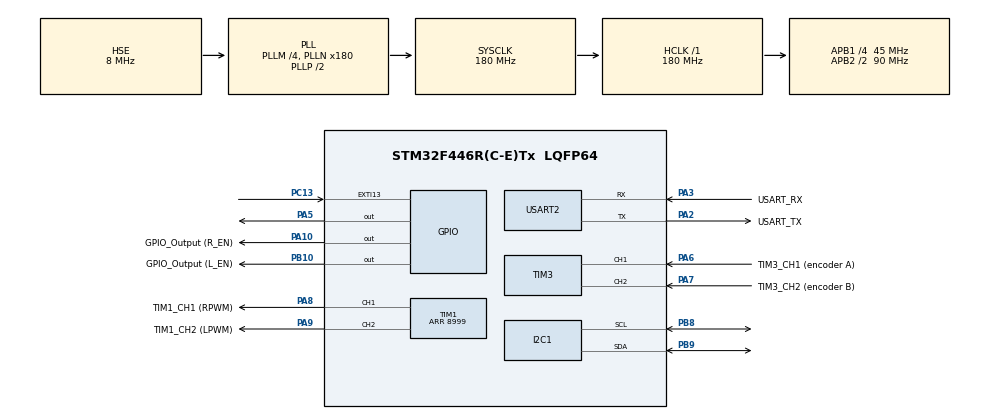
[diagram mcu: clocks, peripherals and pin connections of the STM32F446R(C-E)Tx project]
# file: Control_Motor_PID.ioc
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I2C1.I2C_Mode=I2C_Fast
Mcu.Family=STM32F4
Mcu.Name=STM32F446R(C-E)Tx
Mcu.Package=LQFP64
NUCLEO-F446RE.BUTTON=1
NUCLEO-F446RE.LD1=true
NVIC.EXTI15_10_IRQn=true\:0\:0\:false\:false\:true\:false\:true\:true
NVIC.PriorityGroup=NVIC_PRIORITYGROUP_0
NVIC.TIM2_IRQn=true\:0\:0\:false\:false\:true\:true\:true\:true
PA10.GPIO_Label=GPIO_Output (R_EN)
PA10.Signal=GPIO_Output
PA13.GPIO_Label=TMS
PA13.Mode=Serial_Wire
PA13.Signal=SYS_JTMS-SWDIO
PA14.GPIO_Label=TCK
PA14.Mode=Serial_Wire
PA14.Signal=SYS_JTCK-SWCLK
PA2.GPIO_Label=USART_TX
PA2.Mode=Asynchronous
PA2.Signal=USART2_TX
PA3.GPIO_Label=USART_RX
PA3.Mode=Asynchronous
PA3.Signal=USART2_RX
PA5.Signal=GPIO_Output
PA6.GPIO_Label=TIM3_CH1 (encoder A)
PA6.Signal=S_TIM3_CH1
PA7.GPIO_Label=TIM3_CH2 (encoder B)
PA7.Signal=S_TIM3_CH2
PA8.GPIO_Label=TIM1_CH1 (RPWM)
PA8.Signal=S_TIM1_CH1
PA9.GPIO_Label=TIM1_CH2 (LPWM)
PA9.Signal=S_TIM1_CH2
PB10.GPIO_Label=GPIO_Output (L_EN)
PB10.Signal=GPIO_Output
PB3.GPIO_Label=SWO
PB3.Signal=SYS_JTDO-SWO
PB8.Mode=I2C
PB8.Signal=I2C1_SCL
PB9.Mode=I2C
PB9.Signal=I2C1_SDA
PC13.Signal=GPXTI13
PC14-OSC32_IN.Signal=RCC_OSC32_IN
PC15-OSC32_OUT.Signal=RCC_OSC32_OUT
PH0-OSC_IN.Mode=HSE-External-Clock-Source
PH0-OSC_IN.Signal=RCC_OSC_IN
PH1-OSC_OUT.Mode=HSE-External-Clock-Source
PH1-OSC_OUT.Signal=RCC_OSC_OUT
ProjectManager.HeapSize=0x200
ProjectManager.StackSize=0x400
ProjectManager.TargetToolchain=CMake
RCC.AHBFreq_Value=180000000
RCC.APB1CLKDivider=RCC_HCLK_DIV4
RCC.APB1Freq_Value=45000000
RCC.APB1TimFreq_Value=90000000
RCC.APB2CLKDivider=RCC_HCLK_DIV2
RCC.APB2Freq_Value=90000000
RCC.APB2TimFreq_Value=180000000
RCC.CortexFreq_Value=180000000
RCC.FLatency-AdvancedSettings=FLASH_LATENCY_5
RCC.HCLKFreq_Value=180000000
RCC.HSE_VALUE=8000000
RCC.HSI_VALUE=16000000
RCC.LSE_VALUE=32768
RCC.PLLM=4
RCC.PLLN=180
RCC.PLLSourceVirtual=RCC_PLLSOURCE_HSE
RCC.SYSCLKFreq_VALUE=180000000
RCC.SYSCLKSource=RCC_SYSCLKSOURCE_PLLCLK
RCC.USBFreq_Value=180000000
RCC.VCOOutputFreq_Value=360000000
SH.S_TIM1_CH1.0=TIM1_CH1,PWM Generation1 CH1
SH.S_TIM1_CH2.0=TIM1_CH2,PWM Generation2 CH2
SH.S_TIM3_CH1.0=TIM3_CH1,Encoder_Interface
SH.S_TIM3_CH2.0=TIM3_CH2,Encoder_Interface
TIM1.AutoReloadPreload=TIM_AUTORELOAD_PRELOAD_ENABLE
TIM1.Channel-PWM\ Generation1\ CH1=TIM_CHANNEL_1
TIM1.Channel-PWM\ Generation2\ CH2=TIM_CHANNEL_2
TIM1.Period=8999
TIM2.AutoReloadPreload=TIM_AUTORELOAD_PRELOAD_ENABLE
TIM2.Period=899999
TIM3.EncoderMode=TIM_ENCODERMODE_TI12
USART2.VirtualMode=VM_ASYNC
VP_NUCLEO-F446RE_VS_BSP_COMMON.Mode=COMMON
VP_TIM1_VS_ClockSourceINT.Mode=Internal
VP_TIM2_VS_ClockSourceINT.Mode=Internal
board=NUCLEO-F446RE

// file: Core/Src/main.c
/* USER CODE BEGIN Header */
/**
  ******************************************************************************
  * @file           : main.c
  * @brief          : Main program body
  ******************************************************************************
  * @attention
  *
  * Copyright (c) 2026 STMicroelectronics.
  * All rights reserved.
  *
  * This software is licensed under terms that can be found in the LICENSE file
  * in the root directory of this software component.
  * If no LICENSE file comes with this software, it is provided AS-IS.
  *
  ******************************************************************************
  */
/* USER CODE END Header */
#include "main.h"

/* USER CODE BEGIN Includes */
#include "control_velocidad.h"
#include "pantalla_oled.h"
#include "telemetria_serial.h"
#include "experimento_pwm.h"
/* USER CODE END Includes */

I2C_HandleTypeDef hi2c1;

TIM_HandleTypeDef htim1;
TIM_HandleTypeDef htim2;
TIM_HandleTypeDef htim3;

UART_HandleTypeDef huart2;

void SystemClock_Config(void);
static void MX_GPIO_Init(void);
static void MX_TIM1_Init(void);
static void MX_TIM3_Init(void);
static void MX_TIM2_Init(void);
static void MX_I2C1_Init(void);
static void MX_USART2_UART_Init(void);

int main(void)
{

  /* MCU Configuration--------------------------------------------------------*/

  /* Reset of all peripherals, Initializes the Flash interface and the Systick. */
  HAL_Init();

  /* Configure the system clock */
  SystemClock_Config();

  /* Initialize all configured peripherals */
  MX_GPIO_Init();
  MX_TIM1_Init();
  MX_TIM3_Init();
  MX_TIM2_Init();
  MX_I2C1_Init();
  MX_USART2_UART_Init();
  /* USER CODE BEGIN 2 */
  HAL_TIM_Encoder_Start(&htim3, TIM_CHANNEL_ALL); // Inicia el encoder

  HAL_TIM_PWM_Start(&htim1, TIM_CHANNEL_1); // Inicia el PWM en el canal 1
  HAL_TIM_PWM_Start(&htim1, TIM_CHANNEL_2); // Inicia el PWM en el canal 2

  HAL_TIM_Base_Start_IT(&htim2); //Inicia el timer 2 y habilita la interrupción para el timer 2

  /* Orden que pide control_velocidad.h: timers arrancados, luego la pantalla, luego el control. */
  pantalla_oled_inicializar(&hi2c1);   /* hi2c1: lo genera CubeMX al activar I2C1 */
  control_velocidad_iniciar();         /* deja el motor parado en IDLE */
  control_velocidad_fijar_referencia(220.0f); /* prueba lazo abierto: 100 RPM */
  experimento_pwm_iniciar();           /* experimentos de identificacion: referencia en 0, espera el boton */
  /* USER CODE END 2 */

  /* Initialize leds */
  BSP_LED_Init(LED2);

  /* Initialize USER push-button, will be used to trigger an interrupt each time it's pressed.*/
  BSP_PB_Init(BUTTON_USER, BUTTON_MODE_EXTI);

  /* Infinite loop */
  while (1)
  {

    /* USER CODE BEGIN 3 */
    control_velocidad_ejecutar();  /* medir -> calcular -> actuar (cada 10 ms) */
    experimento_pwm_actualizar();    /* escalon / PRBS9: manda los datos por serial al terminar cada prueba */
    if (!experimento_pwm_activo()) {
      telemetria_serial_actualizar();  /* RPM por puerto serie cada 100 ms */
    }
  }
  /* USER CODE END 3 */
}

void SystemClock_Config(void)
{
  RCC_OscInitTypeDef RCC_OscInitStruct = {0};
  RCC_ClkInitTypeDef RCC_ClkInitStruct = {0};

  /** Configure the main internal regulator output voltage
  */
  __HAL_RCC_PWR_CLK_ENABLE();
  __HAL_PWR_VOLTAGESCALING_CONFIG(PWR_REGULATOR_VOLTAGE_SCALE1);

  /** Initializes the RCC Oscillators according to the specified parameters
  * in the RCC_OscInitTypeDef structure.
  */
  RCC_OscInitStruct.OscillatorType = RCC_OSCILLATORTYPE_HSE;
  RCC_OscInitStruct.HSEState = RCC_HSE_BYPASS;
  RCC_OscInitStruct.PLL.PLLState = RCC_PLL_ON;
  RCC_OscInitStruct.PLL.PLLSource = RCC_PLLSOURCE_HSE;
  RCC_OscInitStruct.PLL.PLLM = 4;
  RCC_OscInitStruct.PLL.PLLN = 180;
  RCC_OscInitStruct.PLL.PLLP = RCC_PLLP_DIV2;
  RCC_OscInitStruct.PLL.PLLQ = 2;
  RCC_OscInitStruct.PLL.PLLR = 2;
  if (HAL_RCC_OscConfig(&RCC_OscInitStruct) != HAL_OK)
  {
    Error_Handler();
  }

  /** Activate the Over-Drive mode
  */
  if (HAL_PWREx_EnableOverDrive() != HAL_OK)
  {
    Error_Handler();
  }

  /** Initializes the CPU, AHB and APB buses clocks
  */
  RCC_ClkInitStruct.ClockType = RCC_CLOCKTYPE_HCLK|RCC_CLOCKTYPE_SYSCLK
                              |RCC_CLOCKTYPE_PCLK1|RCC_CLOCKTYPE_PCLK2;
  RCC_ClkInitStruct.SYSCLKSource = RCC_SYSCLKSOURCE_PLLCLK;
  RCC_ClkInitStruct.AHBCLKDivider = RCC_SYSCLK_DIV1;
  RCC_ClkInitStruct.APB1CLKDivider = RCC_HCLK_DIV4;
  RCC_ClkInitStruct.APB2CLKDivider = RCC_HCLK_DIV2;

  if (HAL_RCC_ClockConfig(&RCC_ClkInitStruct, FLASH_LATENCY_5) != HAL_OK)
  {
    Error_Handler();
  }
}

static void MX_I2C1_Init(void)
{

  hi2c1.Instance = I2C1;
  hi2c1.Init.ClockSpeed = 400000;
  hi2c1.Init.DutyCycle = I2C_DUTYCYCLE_2;
  hi2c1.Init.OwnAddress1 = 0;
  hi2c1.Init.AddressingMode = I2C_ADDRESSINGMODE_7BIT;
  hi2c1.Init.DualAddressMode = I2C_DUALADDRESS_DISABLE;
  hi2c1.Init.OwnAddress2 = 0;
  hi2c1.Init.GeneralCallMode = I2C_GENERALCALL_DISABLE;
  hi2c1.Init.NoStretchMode = I2C_NOSTRETCH_DISABLE;
  if (HAL_I2C_Init(&hi2c1) != HAL_OK)
  {
    Error_Handler();
  }

}

static void MX_TIM1_Init(void)
{

  TIM_ClockConfigTypeDef sClockSourceConfig = {0};
  TIM_MasterConfigTypeDef sMasterConfig = {0};
  TIM_OC_InitTypeDef sConfigOC = {0};
  TIM_BreakDeadTimeConfigTypeDef sBreakDeadTimeConfig = {0};

  htim1.Instance = TIM1;
  htim1.Init.Prescaler = 0;
  htim1.Init.CounterMode = TIM_COUNTERMODE_UP;
  htim1.Init.Period = 8999;
  htim1.Init.ClockDivision = TIM_CLOCKDIVISION_DIV1;
  htim1.Init.RepetitionCounter = 0;
  htim1.Init.AutoReloadPreload = TIM_AUTORELOAD_PRELOAD_ENABLE;
  if (HAL_TIM_Base_Init(&htim1) != HAL_OK)
  {
    Error_Handler();
  }
  sClockSourceConfig.ClockSource = TIM_CLOCKSOURCE_INTERNAL;
  if (HAL_TIM_ConfigClockSource(&htim1, &sClockSourceConfig) != HAL_OK)
  {
    Error_Handler();
  }
  if (HAL_TIM_PWM_Init(&htim1) != HAL_OK)
  {
    Error_Handler();
  }
  sMasterConfig.MasterOutputTrigger = TIM_TRGO_RESET;
  sMasterConfig.MasterSlaveMode = TIM_MASTERSLAVEMODE_DISABLE;
  if (HAL_TIMEx_MasterConfigSynchronization(&htim1, &sMasterConfig) != HAL_OK)
  {
    Error_Handler();
  }
  sConfigOC.OCMode = TIM_OCMODE_PWM1;
  sConfigOC.Pulse = 0;
  sConfigOC.OCPolarity = TIM_OCPOLARITY_HIGH;
  sConfigOC.OCNPolarity = TIM_OCNPOLARITY_HIGH;
  sConfigOC.OCFastMode = TIM_OCFAST_DISABLE;
  sConfigOC.OCIdleState = TIM_OCIDLESTATE_RESET;
  sConfigOC.OCNIdleState = TIM_OCNIDLESTATE_RESET;
  if (HAL_TIM_PWM_ConfigChannel(&htim1, &sConfigOC, TIM_CHANNEL_1) != HAL_OK)
  {
    Error_Handler();
  }
  if (HAL_TIM_PWM_ConfigChannel(&htim1, &sConfigOC, TIM_CHANNEL_2) != HAL_OK)
  {
    Error_Handler();
  }
  sBreakDeadTimeConfig.OffStateRunMode = TIM_OSSR_DISABLE;
  sBreakDeadTimeConfig.OffStateIDLEMode = TIM_OSSI_DISABLE;
  sBreakDeadTimeConfig.LockLevel = TIM_LOCKLEVEL_OFF;
  sBreakDeadTimeConfig.DeadTime = 0;
  sBreakDeadTimeConfig.BreakState = TIM_BREAK_DISABLE;
  sBreakDeadTimeConfig.BreakPolarity = TIM_BREAKPOLARITY_HIGH;
  sBreakDeadTimeConfig.AutomaticOutput = TIM_AUTOMATICOUTPUT_DISABLE;
  if (HAL_TIMEx_ConfigBreakDeadTime(&htim1, &sBreakDeadTimeConfig) != HAL_OK)
  {
    Error_Handler();
  }
  HAL_TIM_MspPostInit(&htim1);

}

static void MX_TIM2_Init(void)
{

  TIM_ClockConfigTypeDef sClockSourceConfig = {0};
  TIM_MasterConfigTypeDef sMasterConfig = {0};

  htim2.Instance = TIM2;
  htim2.Init.Prescaler = 0;
  htim2.Init.CounterMode = TIM_COUNTERMODE_UP;
  htim2.Init.Period = 899999;
  htim2.Init.ClockDivision = TIM_CLOCKDIVISION_DIV1;
  htim2.Init.AutoReloadPreload = TIM_AUTORELOAD_PRELOAD_ENABLE;
  if (HAL_TIM_Base_Init(&htim2) != HAL_OK)
  {
    Error_Handler();
  }
  sClockSourceConfig.ClockSource = TIM_CLOCKSOURCE_INTERNAL;
  if (HAL_TIM_ConfigClockSource(&htim2, &sClockSourceConfig) != HAL_OK)
  {
    Error_Handler();
  }
  sMasterConfig.MasterOutputTrigger = TIM_TRGO_RESET;
  sMasterConfig.MasterSlaveMode = TIM_MASTERSLAVEMODE_DISABLE;
  if (HAL_TIMEx_MasterConfigSynchronization(&htim2, &sMasterConfig) != HAL_OK)
  {
    Error_Handler();
  }

}

static void MX_TIM3_Init(void)
{

  TIM_Encoder_InitTypeDef sConfig = {0};
  TIM_MasterConfigTypeDef sMasterConfig = {0};

  htim3.Instance = TIM3;
  htim3.Init.Prescaler = 0;
  htim3.Init.CounterMode = TIM_COUNTERMODE_UP;
  htim3.Init.Period = 65535;
  htim3.Init.ClockDivision = TIM_CLOCKDIVISION_DIV1;
  htim3.Init.AutoReloadPreload = TIM_AUTORELOAD_PRELOAD_DISABLE;
  sConfig.EncoderMode = TIM_ENCODERMODE_TI12;
  sConfig.IC1Polarity = TIM_ICPOLARITY_RISING;
  sConfig.IC1Selection = TIM_ICSELECTION_DIRECTTI;
  sConfig.IC1Prescaler = TIM_ICPSC_DIV1;
  sConfig.IC1Filter = 0;
  sConfig.IC2Polarity = TIM_ICPOLARITY_RISING;
  sConfig.IC2Selection = TIM_ICSELECTION_DIRECTTI;
  sConfig.IC2Prescaler = TIM_ICPSC_DIV1;
  sConfig.IC2Filter = 0;
  if (HAL_TIM_Encoder_Init(&htim3, &sConfig) != HAL_OK)
  {
    Error_Handler();
  }
  sMasterConfig.MasterOutputTrigger = TIM_TRGO_RESET;
  sMasterConfig.MasterSlaveMode = TIM_MASTERSLAVEMODE_DISABLE;
  if (HAL_TIMEx_MasterConfigSynchronization(&htim3, &sMasterConfig) != HAL_OK)
  {
    Error_Handler();
  }

}

static void MX_USART2_UART_Init(void)
{

  huart2.Instance = USART2;
  huart2.Init.BaudRate = 115200;
  huart2.Init.WordLength = UART_WORDLENGTH_8B;
  huart2.Init.StopBits = UART_STOPBITS_1;
  huart2.Init.Parity = UART_PARITY_NONE;
  huart2.Init.Mode = UART_MODE_TX_RX;
  huart2.Init.HwFlowCtl = UART_HWCONTROL_NONE;
  huart2.Init.OverSampling = UART_OVERSAMPLING_16;
  if (HAL_UART_Init(&huart2) != HAL_OK)
  {
    Error_Handler();
  }

}

static void MX_GPIO_Init(void)
{
  GPIO_InitTypeDef GPIO_InitStruct = {0};

  /* GPIO Ports Clock Enable */
  __HAL_RCC_GPIOC_CLK_ENABLE();
  __HAL_RCC_GPIOH_CLK_ENABLE();
  __HAL_RCC_GPIOA_CLK_ENABLE();
  __HAL_RCC_GPIOB_CLK_ENABLE();

  /*Configure GPIO pin Output Level */
  HAL_GPIO_WritePin(GPIO_Output_GPIO_Port, GPIO_Output_Pin, GPIO_PIN_RESET);

  /*Configure GPIO pin Output Level */
  HAL_GPIO_WritePin(GPIO_OutputA10_GPIO_Port, GPIO_OutputA10_Pin, GPIO_PIN_RESET);

  /*Configure GPIO pin : GPIO_Output_Pin */
  GPIO_InitStruct.Pin = GPIO_Output_Pin;
  GPIO_InitStruct.Mode = GPIO_MODE_OUTPUT_PP;
  GPIO_InitStruct.Pull = GPIO_NOPULL;
  GPIO_InitStruct.Speed = GPIO_SPEED_FREQ_LOW;
  HAL_GPIO_Init(GPIO_Output_GPIO_Port, &GPIO_InitStruct);

  /*Configure GPIO pin : GPIO_OutputA10_Pin */
  GPIO_InitStruct.Pin = GPIO_OutputA10_Pin;
  GPIO_InitStruct.Mode = GPIO_MODE_OUTPUT_PP;
  GPIO_InitStruct.Pull = GPIO_NOPULL;
  GPIO_InitStruct.Speed = GPIO_SPEED_FREQ_LOW;
  HAL_GPIO_Init(GPIO_OutputA10_GPIO_Port, &GPIO_InitStruct);

}

/* USER CODE BEGIN 4 */
/* Boton azul (PC13): arranca el motor; si ya esta en RUN, lo detiene.
 * Antirrebote simple: ignora pulsaciones a menos de 200 ms de la anterior. */
void HAL_GPIO_EXTI_Callback(uint16_t GPIO_Pin)
{
    static uint32_t ultimo_ms = 0;

    if (GPIO_Pin == USER_BUTTON_PIN) {
        uint32_t ahora = HAL_GetTick();
        if ((ahora - ultimo_ms) < 200u) {
            return;
        }
        ultimo_ms = ahora;

        if (!control_velocidad_arrancar()) {
            (void)control_velocidad_detener();
        }
    }
}
/* USER CODE END 4 */

void Error_Handler(void)
{
  __disable_irq();
  while (1)
  {
  }
}
